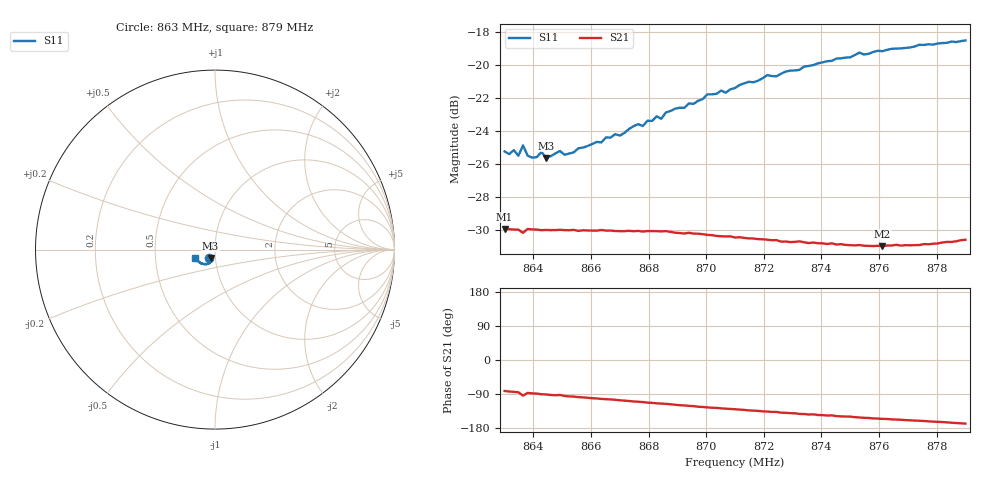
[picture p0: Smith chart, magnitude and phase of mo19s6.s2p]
# HZ S RI R 50
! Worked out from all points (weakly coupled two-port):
!   101 points, 863 MHz to 879 MHz, reference 50 ohm
!   highest |S21| = -29.95 dB at 863 MHz (marker M1); lowest = -31.0 dB at 876.12 MHz (marker M2)
!   lowest |S11| = -25.6 dB at 864.44 MHz (marker M3), VSWR 1.11, Z = 47.4 - j4.36 ohm
!   |S11| at or under -10 dB: start of sweep to end of sweep
!   S12 and S22 are empty: the file has one direction only
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8.63e8  -0.0324 -0.0441  0.00454 -0.0315  0 0  0 0
8.6332e8  -0.0316 -0.0453  0.0033 -0.0315  0 0  0 0
8.6348e8  -0.029 -0.0445  0.00263 -0.0315  0 0  0 0
8.6364e8  -0.0329 -0.0467  -0.00218 -0.0309  0 0  0 0
8.638e8  -0.0286 -0.0447  0.00179 -0.0318  0 0  0 0
8.6412e8  -0.027 -0.0452  0.000761 -0.0317  0 0  0 0
8.6428e8  -0.0264 -0.0477  -0.00019 -0.0315  0 0  0 0
8.6444e8  -0.025 -0.0459  -0.000445 -0.0316  0 0  0 0
8.6572e8  -0.0205 -0.0523  -0.00476 -0.0312  0 0  0 0
8.67e8  -0.0198 -0.0578  -0.00876 -0.0301  0 0  0 0
8.6764e8  -0.0221 -0.0624  -0.0108 -0.0295  0 0  0 0
8.678e8  -0.0224 -0.0614  -0.0112 -0.0292  0 0  0 0
8.6828e8  -0.0223 -0.0663  -0.0129 -0.0285  0 0  0 0
8.6844e8  -0.0229 -0.0648  -0.0132 -0.0283  0 0  0 0
8.686e8  -0.0227 -0.0682  -0.0136 -0.0282  0 0  0 0
8.7004e8  -0.0307 -0.0756  -0.0175 -0.025  0 0  0 0
8.71e8  -0.0367 -0.077  -0.0192 -0.023  0 0  0 0
8.7212e8  -0.0469 -0.0808  -0.0212 -0.0205  0 0  0 0
8.7372e8  -0.0576 -0.0819  -0.0232 -0.0173  0 0  0 0
8.7612e8  -0.0829 -0.0728  -0.0256 -0.0118  0 0  0 0
8.7644e8  -0.0865 -0.0714  -0.026 -0.0112  0 0  0 0
8.79e8  -0.1087 -0.0483  -0.0288 -0.00623  0 0  0 0
